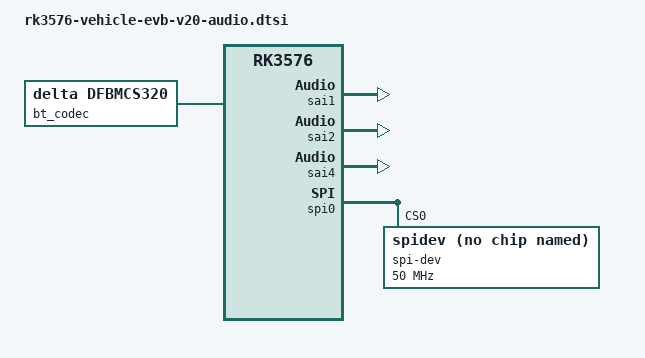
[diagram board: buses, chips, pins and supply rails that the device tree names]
// SPDX-License-Identifier: (GPL-2.0+ OR MIT)
/*
 * Copyright (c) 2024 Rockchip Electronics Co., Ltd.
 *
 */

/ {

	dummy_codec0: dummy-codec@0 {
		status = "okay";
		compatible = "rockchip,dummy-codec";
		#sound-dai-cells = <0>;
	};

	dummy_codec1: dummy-codec@1 {
		status = "okay";
		compatible = "rockchip,dummy-codec";
		#sound-dai-cells = <0>;
	};

	bt_codec: bt-codec {
		compatible = "delta,dfbmcs320";
		#sound-dai-cells = <1>;
		status = "okay";
	};

	sound0 {
		status = "okay";
		compatible = "simple-audio-card";
		simple-audio-card,name = "rockchip,tdm";
		simple-audio-card,format = "i2s";
		simple-audio-card,mclk-fs = <256>;
		simple-audio-card,cpu {
			sound-dai = <&sai1>;
			dai-tdm-slot-num = <8>;
			dai-tdm-slot-width = <32>;
		};
		simple-audio-card,codec {
			sound-dai = <&dummy_codec0>;
		};
	};

	sound1 {
		status = "okay";
		compatible = "simple-audio-card";
		simple-audio-card,name = "rockchip,low-latency";
		simple-audio-card,format = "i2s";
		simple-audio-card,mclk-fs = <256>;
		simple-audio-card,bitclock-master = <&dummy_clk1>;
		simple-audio-card,frame-master = <&dummy_clk1>;
		simple-audio-card,cpu {
			sound-dai = <&sai4>;
			dai-tdm-slot-num = <8>;
			dai-tdm-slot-width = <32>;
		};
		dummy_clk1: simple-audio-card,codec {
			sound-dai = <&dummy_codec1>;
		};
	};

	sound2 {
		compatible = "simple-audio-card";
		simple-audio-card,format = "dsp_a";
		simple-audio-card,bitclock-inversion;
		simple-audio-card,mclk-fs = <256>;
		simple-audio-card,name = "rockchip,bt";
		simple-audio-card,cpu {
			sound-dai = <&sai2>;
		};
		simple-audio-card,codec {
			sound-dai = <&bt_codec 1>;
		};
	};
};

&sai1 {
	status = "okay";
	rockchip,tdm-tx-lanes = <3>;
	rockchip,tdm-rx-lanes = <2>;
	pinctrl-names = "default";
	pinctrl-0 = <&sai1m0_lrck
			&sai1m0_sclk
			&sai1m0_sdi0
			&sai1m0_sdi1
			&sai1m0_sdo0
			&sai1m0_sdo1
			&sai1m0_sdo2>;
};

&sai2 {
	status = "okay";
	pinctrl-names = "default";
	pinctrl-0 = <&sai2m0_lrck
			&sai2m0_sclk
			&sai2m0_sdi
			&sai2m0_sdo>;
};

&sai4 {
	status = "okay";
	pinctrl-names = "default";
	pinctrl-0 = <&sai4m2_lrck
			&sai4m2_sclk
			&sai4m2_sdi
			&sai4m2_sdo>;
};

&spi0 {
	status = "okay";
	pinctrl-names = "default";
	pinctrl-0 = <&spi0m0_csn0 &spi0m0_pins>;
	spi-dev@0 {
		compatible = "rockchip,spidev";
		reg = <0x0>;
		spi-max-frequency = <50000000>;
		spi-lsb-first;
	};
};
